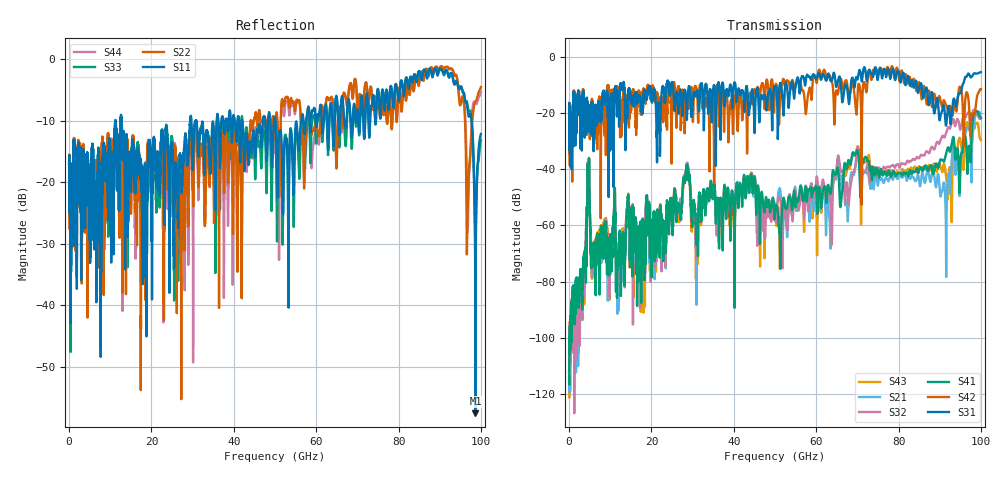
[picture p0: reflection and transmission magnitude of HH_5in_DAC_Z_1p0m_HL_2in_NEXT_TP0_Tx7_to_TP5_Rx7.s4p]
# GHz S RI R 45
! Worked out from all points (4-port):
!   4000 points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, 25 MHz to 100 GHz, reference 45 ohm
!   strongest paths, dB at 25 MHz, 25.02 GHz, 50.02 GHz, 75.03 GHz, 100 GHz:
!     S31: -18.8, -9.3, -10.5, -7.6, -5.4
!     S42: -18.8, -19.7, -11.3, -5.7, -11.5
!     S41: -113.8, -57.4, -55.6, -41.1, -21.7
!     S32: -112.1, -55.5, -54.7, -39.5, -22.0
!     S21: -116.6, -55.0, -52.5, -45.7, -20.2
!     S43: -111.8, -56.4, -53.0, -40.9, -29.6
!   lowest |S11| = -57.6 dB at 98.67 GHz (marker M1), VSWR 1.00, Z = 44.9 - j0.0566 ohm
!   |S11| at or under -10 dB: start of sweep to 11.27 GHz; 12.76 GHz to 29.39 GHz (16.64 GHz wide, 78.9 % of centre); 50.11 GHz to 56.4 GHz (6.289 GHz wide, 11.8 % of centre) (the widest 3 of 32)
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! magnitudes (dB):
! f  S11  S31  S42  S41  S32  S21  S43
! 25 MHz  -17.1  -18.8  -18.8  -113.8  -112.1  -116.6  -111.8
! 4.725 GHz  -23.8  -26.8  -18.9  -46.2  -45.7  -46.4  -45.3
! 11.8 GHz  -14.7  -13.3  -10.9  -70.0  -76.3  -82.1  -68.5
! 28.6 GHz  -16.3  -22.4  -14.2  -39.3  -38.8  -38.7  -39.9
! 91.4 GHz  -1.8  -23.4  -16.8  -35.4  -27.8  -52.3  -40.9
! 98.67 GHz  -57.6  -6.0  -18.7  -19.8  -19.8  -20.8  -23.7
! 100 GHz  -12.2  -5.4  -11.5  -21.7  -22.0  -20.2  -29.6
